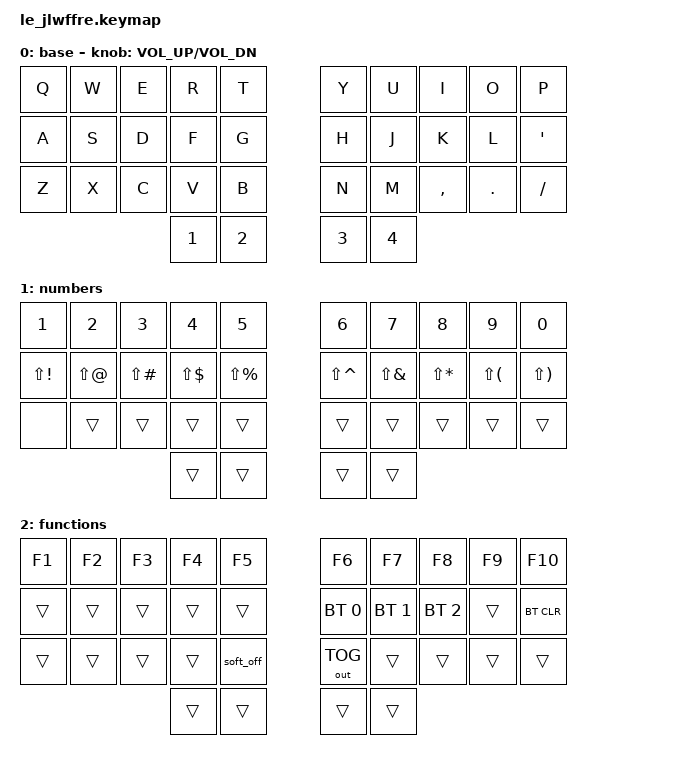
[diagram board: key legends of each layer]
/*
 * Copyright (c) 2022 The ZMK Contributors
 *
 * SPDX-License-Identifier: MIT
 */

#include <behaviors.dtsi>
#include <dt-bindings/zmk/bt.h>
#include <dt-bindings/zmk/keys.h>
#include <dt-bindings/zmk/outputs.h>

/ {
    combos {
        compatible = "zmk,combos";

        combo_backspace {
            bindings = <&kp BACKSPACE>;
            key-positions = <8 9>;
        };

        combo_esc {
            bindings = <&kp ESCAPE>;
            key-positions = <0 1>;
        };

        combo_tab {
            bindings = <&kp TAB>;
            key-positions = <10 11>;
        };

        combo_ctrl_z {
            bindings = <&kp LC(Z)>;
            key-positions = <20 21>;
        };

        combo_ctrl_x {
            bindings = <&kp LC(X)>;
            key-positions = <21 22>;
        };

        combo_ctrl_c {
            bindings = <&kp LC(C)>;
            key-positions = <22 23>;
        };

        combo_ctrl_v {
            bindings = <&kp LC(V)>;
            key-positions = <23 24>;
        };

        combo_ctrl_a {
            bindings = <&kp LC(A)>;
            key-positions = <10 21>;
        };

        combo_fn_layer {
            bindings = <&mo 2>;
            key-positions = <0 9>;
        };

        Shift {
            bindings = <&kp LEFT_SHIFT>;
            key-positions = <31 32>;
        };

        layer2 {
            bindings = <&mo 2>;
            key-positions = <3 4>;
        };
    };

    keymap {
        compatible = "zmk,keymap";

        base {
            bindings = <
&kp Q  &kp W  &kp E      &kp R  &kp T      &kp Y  &kp U         &kp I         &kp O    &kp P
&kp A  &kp S  &kp D      &kp F  &kp G      &kp H  &kp J         &kp K         &kp L    &kp SQT
&kp Z  &kp X  &kp C      &kp V  &kp B      &kp N  &kp M         &kp COMMA     &kp DOT  &kp FSLH
              &kp NUMBER_1  &kp NUMBER_2    &kp NUMBER_3  &kp NUMBER_4
            >;

            sensor-bindings = <&inc_dec_kp C_VOL_UP C_VOL_DN>;
        };

        numbers {
            bindings = <
&kp N1        &kp N2      &kp N3         &kp N4        &kp N5         &kp N6         &kp N7        &kp N8        &kp N9        &kp N0
&kp LS(EXCL)  &kp LS(AT)  &kp LS(POUND)  &kp LS(DLLR)  &kp LS(PRCNT)  &kp LS(CARET)  &kp LS(AMPS)  &kp LS(STAR)  &kp LS(LPAR)  &kp LS(RPAR)
&none         &trans      &trans         &trans        &trans         &trans         &trans        &trans        &trans        &trans
                          &trans                       &trans                        &trans        &trans
            >;
        };

        functions {
            bindings = <
&kp F1  &kp F2  &kp F3  &kp F4  &kp F5     &kp F6        &kp F7        &kp F8        &kp F9  &kp F10
&trans  &trans  &trans  &trans  &trans     &bt BT_SEL 0  &bt BT_SEL 1  &bt BT_SEL 2  &trans  &bt BT_CLR
&trans  &trans  &trans  &trans  &soft_off  &out OUT_TOG  &trans        &trans        &trans  &trans
                &trans          &trans                   &trans        &trans
            >;
        };
    };
};
